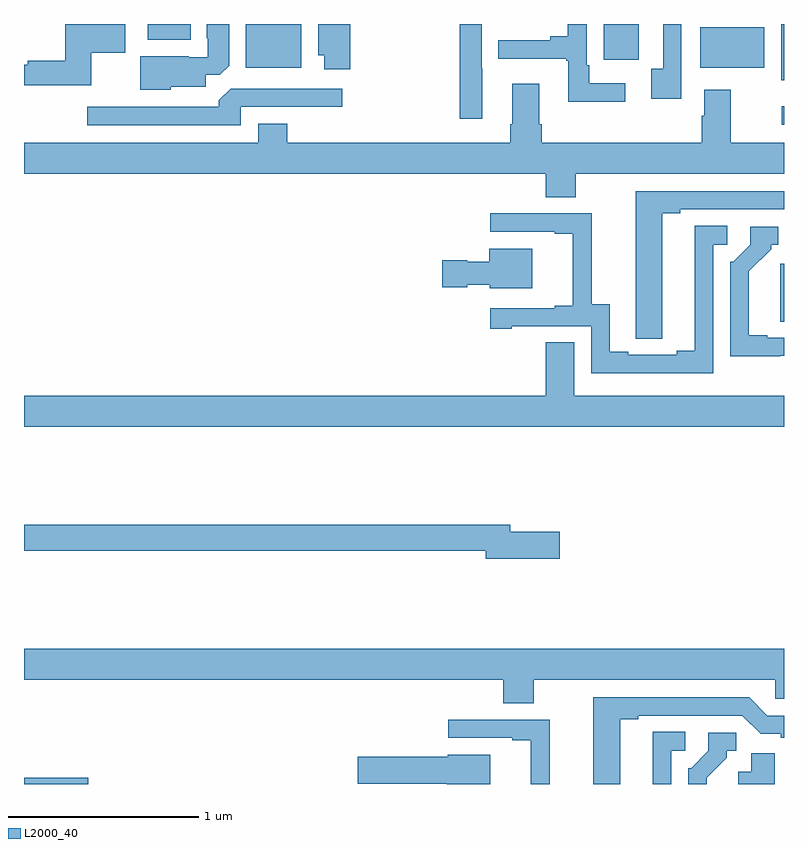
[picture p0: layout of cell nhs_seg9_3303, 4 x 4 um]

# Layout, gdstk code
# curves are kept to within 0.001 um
import gdstk
lib = gdstk.Library(unit=1e-6, precision=1e-09)
def R(c, l, rs):  # rectangles x0, y0, x1, y1
    for r in rs: c.add(gdstk.rectangle(r[:2], r[2:], *l))
def P(c, l, *ps):  # polygons
    for p in ps: c.add(gdstk.Polygon(p, *l))
L2000_40 = (2000, 40)

nhs_seg9_3303 = lib.new_cell('nhs_seg9_3303')
R(nhs_seg9_3303, L2000_40, [(299,1234.5,299.338,1234.532), (302.981,1236.934,303,1237.237), (302.988,1237.971,303,1238.068), (302.985,1238.204,303,1238.5), (300.167,1238.27,300.46,1238.5), (302.558,1238.27,302.896,1238.482), (299.651,1238.417,299.878,1238.5)])
P(nhs_seg9_3303, L2000_40, [(302.46,1238.5),(302.364,1238.5),(302.364,1238.265),(302.301,1238.265),(302.301,1238.106),(302.46,1238.106)],
  [(299.772,1238.171),(299.956,1238.171),(299.956,1238.232),(300.03,1238.232),(300.079,1238.281),(300.079,1238.5),(299.963,1238.5),(299.963,1238.425),(299.967,1238.425),(299.967,1238.325),(299.867,1238.325),(299.867,1238.329),(299.612,1238.329),(299.612,1238.153),(299.772,1238.153)],
  [(299.353,1238.348),(299.533,1238.348),(299.533,1238.5),(299.218,1238.5),(299.218,1238.306),(299.02,1238.306),(299.02,1238.286),(299,1238.286),(299,1238.178),(299.353,1238.178)],
  [(300.716,1238.5),(300.548,1238.5),(300.548,1238.336),(300.581,1238.336),(300.581,1238.262),(300.716,1238.262)],
  [(302.235,1238.416),(302.236,1238.416),(302.236,1238.5),(302.051,1238.5),(302.051,1238.313),(302.235,1238.313)],
  [(302.164,1238.187),(301.975,1238.187),(301.975,1238.284),(301.962,1238.284),(301.962,1238.5),(301.861,1238.5),(301.861,1238.435),(301.769,1238.435),(301.769,1238.415),(301.495,1238.415),(301.495,1238.318),(301.854,1238.318),(301.854,1238.307),(301.865,1238.307),(301.865,1238.09),(302.164,1238.09)],
  [(301.411,1238.267),(301.41,1238.267),(301.41,1238.5),(301.208,1238.5),(301.208,1238.498),(301.294,1238.498),(301.294,1238.001),(301.411,1238.001)],
  [(301.905,1237.712),(303,1237.712),(303,1237.876),(302.719,1237.876),(302.719,1238.155),(302.579,1238.155),(302.579,1238.018),(302.567,1238.018),(302.567,1237.876),(301.724,1237.876),(301.724,1237.972),(301.711,1237.972),(301.711,1238.185),(301.571,1238.185),(301.571,1237.972),(301.559,1237.972),(301.559,1237.876),(300.386,1237.876),(300.386,1237.975),(300.233,1237.975),(300.233,1237.876),(299,1237.876),(299,1237.712),(301.745,1237.712),(301.745,1237.588),(301.905,1237.588)],
  [(300.141,1238.064),(300.676,1238.064),(300.676,1238.16),(300.087,1238.16),(300.026,1238.098),(300.026,1238.064),(299.334,1238.064),(299.334,1237.968),(300.141,1237.968)],
  [(302.359,1237.504),(302.455,1237.504),(302.455,1237.524),(303,1237.524),(303,1237.62),(302.219,1237.62),(302.219,1236.952),(302.22,1236.952),(302.22,1236.844),(302.359,1236.844)],
  [(302.628,1237.338),(302.701,1237.338),(302.701,1237.439),(302.531,1237.439),(302.531,1236.779),(302.435,1236.779),(302.435,1236.759),(302.179,1236.759),(302.179,1236.774),(302.083,1236.774),(302.083,1237.025),(301.989,1237.025),(301.989,1237.503),(301.455,1237.503),(301.455,1237.407),(301.793,1237.407),(301.793,1237.395),(301.889,1237.395),(301.889,1237.018),(301.793,1237.018),(301.793,1237.005),(301.455,1237.005),(301.455,1236.897),(301.567,1236.897),(301.567,1236.909),(301.986,1236.909),(301.986,1236.663),(302.628,1236.663)],
  [(302.981,1236.753),(303,1236.753),(303,1236.849),(302.911,1236.849),(302.911,1236.862),(302.815,1236.862),(302.815,1237.198),(302.932,1237.315),(302.932,1237.338),(302.971,1237.338),(302.971,1237.434),(302.823,1237.434),(302.823,1237.338),(302.733,1237.248),(302.718,1237.248),(302.718,1236.752)],
  [(301.675,1237.318),(301.448,1237.318),(301.448,1237.249),(301.332,1237.249),(301.332,1237.257),(301.2,1237.257),(301.2,1237.115),(301.332,1237.115),(301.332,1237.127),(301.452,1237.127),(301.452,1237.109),(301.675,1237.109)],
  [(303,1236.544),(301.897,1236.544),(301.897,1236.824),(301.745,1236.824),(301.745,1236.544),(299,1236.544),(299,1236.38),(303,1236.38)],
  [(301.819,1235.828),(301.558,1235.828),(301.558,1235.864),(299,1235.864),(299,1235.728),(301.43,1235.728),(301.43,1235.686),(301.819,1235.686)],
  [(301.683,1235.048),(302.955,1235.048),(302.955,1234.95),(303,1234.95),(303,1235.212),(299,1235.212),(299,1235.048),(301.523,1235.048),(301.523,1234.924),(301.683,1234.924)],
  [(302.137,1234.84),(302.233,1234.84),(302.233,1234.86),(302.781,1234.86),(302.877,1234.764),(302.982,1234.764),(302.982,1234.744),(303,1234.744),(303,1234.86),(302.913,1234.86),(302.817,1234.956),(301.997,1234.956),(301.997,1234.5),(302.137,1234.5)],
  [(301.767,1234.839),(301.233,1234.839),(301.233,1234.743),(301.571,1234.743),(301.571,1234.731),(301.667,1234.731),(301.667,1234.5),(301.767,1234.5)],
  [(302.406,1234.674),(302.479,1234.674),(302.479,1234.775),(302.309,1234.775),(302.309,1234.5),(302.406,1234.5)],
  [(302.593,1234.534),(302.698,1234.639),(302.698,1234.674),(302.748,1234.674),(302.748,1234.77),(302.601,1234.77),(302.601,1234.674),(302.511,1234.584),(302.496,1234.584),(302.496,1234.5),(302.593,1234.5)],
  [(302.95,1234.662),(302.828,1234.662),(302.828,1234.564),(302.759,1234.564),(302.759,1234.5),(302.95,1234.5)],
  [(301.453,1234.654),(301.23,1234.654),(301.23,1234.644),(300.756,1234.644),(300.756,1234.502),(301.226,1234.502),(301.226,1234.5),(301.453,1234.5)])

lib.write_gds('nhs_seg9_3303.gds')
